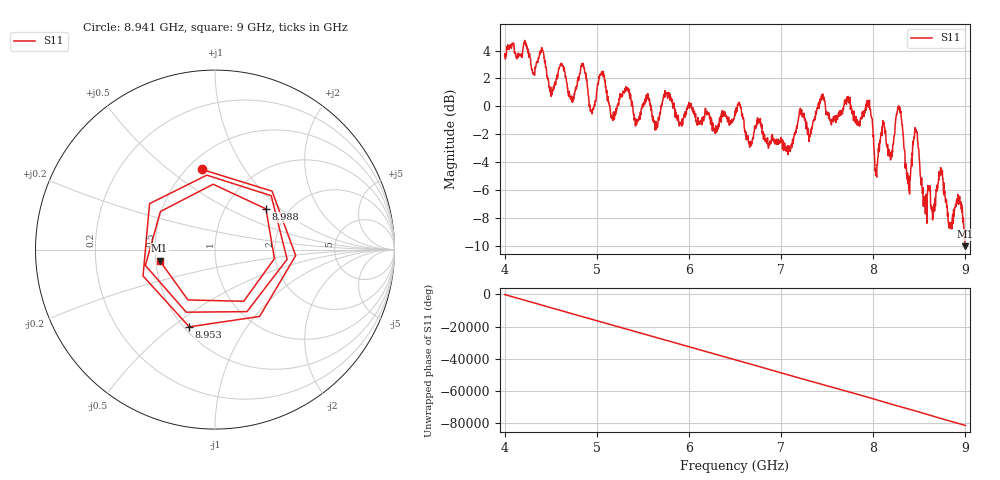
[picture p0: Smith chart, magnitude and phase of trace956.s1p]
! Created with skrf 1.8.0 (http://scikit-rf.org).
# Hz S RI R 50.0
!freq ReS11 ImS11
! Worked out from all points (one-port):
!   1601 points, 4 GHz to 9 GHz, reference 50 ohm
!   lowest |S11| = -10.0 dB at 9 GHz (marker M1), VSWR 1.92, Z = 26.2 - j3.56 ohm
!   |S11| at or under -10 dB: 8.998787 GHz to end of sweep
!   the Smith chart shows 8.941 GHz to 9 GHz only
!   S11 on the Smith chart (normalised r, x): 8.941 GHz: 0.59, +0.66; 8.953 GHz: 0.53, -0.58; 8.988 GHz: 1.54, +0.80; 9 GHz: 0.52, -0.07
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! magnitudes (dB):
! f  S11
! 4 GHz  3.6
! 4.403 GHz  4.2
! 4.509 GHz  1.0
! 4.625 GHz  2.9
! 4.728 GHz  0.7
! 4.847 GHz  2.9
! 4.941 GHz  -0.3
! 5.05 GHz  2.4
! 5.172 GHz  -0.7
! 5.25 GHz  0.6
! 5.875 GHz  -1.0
! 6.5 GHz  -0.7
! 7.125 GHz  -2.4
! 7.441 GHz  0.6
! 7.75 GHz  0.3
! 7.953 GHz  -0.1
! 8.034 GHz  -4.9
! 8.197 GHz  -3.4
! 8.281 GHz  0.0
! 8.375 GHz  -5.5
! 8.459 GHz  -1.7
! 8.559 GHz  -7.0
! 8.734 GHz  -4.5
! 8.831 GHz  -8.3
! 8.941 GHz  -6.9
! 8.953 GHz  -6.9
! 8.988 GHz  -8.8
! 9 GHz  -10.0
